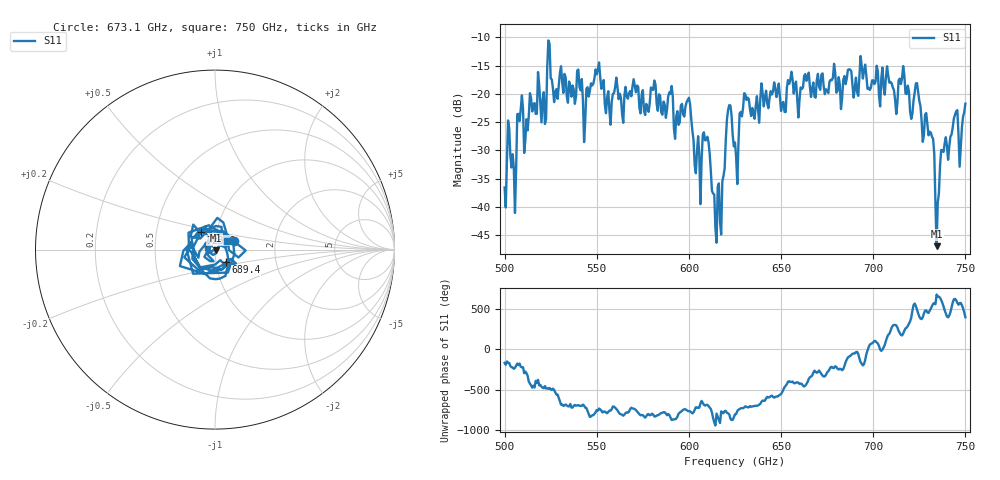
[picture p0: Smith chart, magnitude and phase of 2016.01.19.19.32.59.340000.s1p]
!Created with skrf (http://scikit-rf.org).
# GHz S RI R 50.0
!freq ReS11 ImS11
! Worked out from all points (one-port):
!   401 points, 500 GHz to 750 GHz, reference 50 ohm
!   lowest |S11| = -46.9 dB at 734.4 GHz (marker M1), VSWR 1.01, Z = 50.3 - j0.31 ohm
!   |S11| at or under -10 dB: start of sweep to end of sweep
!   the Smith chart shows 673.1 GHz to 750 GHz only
!   S11 on the Smith chart (normalised r, x): 673.1 GHz: 1.23, +0.13; 689.4 GHz: 1.12, -0.16; 723.8 GHz: 0.84, +0.16; 750 GHz: 1.13, +0.11
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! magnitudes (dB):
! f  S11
! 500 GHz  -36.6
! 502.5 GHz  -26.0
! 505 GHz  -33.1
! 508.1 GHz  -24.8
! 511.9 GHz  -24.5
! 521.2 GHz  -19.7
! 524.4 GHz  -11.1
! 531.2 GHz  -18.0
! 562.5 GHz  -20.0
! 590 GHz  -20.0
! 593.8 GHz  -23.1
! 599.4 GHz  -21.1
! 605 GHz  -27.5
! 609.4 GHz  -28.2
! 616.2 GHz  -35.8
! 621.9 GHz  -22.0
! 625 GHz  -28.6
! 631.2 GHz  -21.1
! 656.2 GHz  -17.5
! 673.1 GHz  -18.7
! 687.5 GHz  -15.7
! 689.4 GHz  -20.7
! 718.8 GHz  -18.5
! 723.8 GHz  -18.1
! 731.9 GHz  -27.6
! 734.4 GHz  -46.9
! 738.1 GHz  -30.3
! 750 GHz  -21.7
